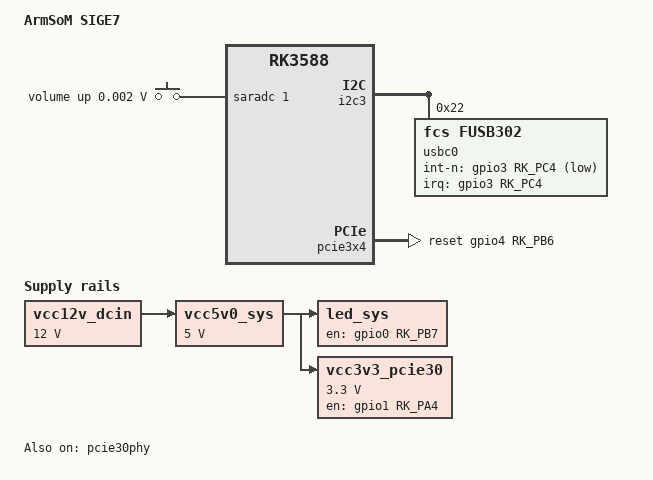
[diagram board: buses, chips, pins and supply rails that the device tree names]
// SPDX-License-Identifier: (GPL-2.0+ OR MIT)
/*
 * Copyright (c) 2021 Rockchip Electronics Co., Ltd
 *
 */

/dts-v1/;
#include "rk3588.dtsi"
#include "rk3588-u-boot.dtsi"
#include <dt-bindings/input/input.h>
#include <dt-bindings/usb/pd.h>

/ {
	model = "ArmSoM SIGE7";
	compatible = "armsom,armsom-sige7", "rockchip,rk3588";

	vcc12v_dcin: vcc12v-dcin {
		u-boot,dm-pre-reloc;
		compatible = "regulator-fixed";
		regulator-name = "vcc12v_dcin";
		regulator-always-on;
		regulator-boot-on;
		regulator-min-microvolt = <12000000>;
		regulator-max-microvolt = <12000000>;
	};

	vcc5v0_sys: vcc5v0-sys {
		u-boot,dm-pre-reloc;
		compatible = "regulator-fixed";
		regulator-name = "vcc5v0_sys";
		regulator-always-on;
		regulator-boot-on;
		regulator-min-microvolt = <5000000>;
		regulator-max-microvolt = <5000000>;
		vin-supply = <&vcc12v_dcin>;
	};

	led_sys: led-sys {
		u-boot,dm-pre-reloc;
		compatible = "regulator-fixed";
		regulator-name = "led_sys";
		enable-active-high;
		gpio = <&gpio0 RK_PB7 GPIO_ACTIVE_HIGH>; // Turn on user led
		regulator-boot-on;
		regulator-always-on;
		vin-supply = <&vcc5v0_sys>;
	};

	adc-keys {
		compatible = "adc-keys";
		io-channels = <&saradc 1>;
		io-channel-names = "buttons";
		keyup-threshold-microvolt = <1800000>;
		u-boot,dm-pre-reloc;
		status = "okay";

		volumeup-key {
			u-boot,dm-pre-reloc;
			linux,code = <KEY_VOLUMEUP>;
			label = "volume up";
			press-threshold-microvolt = <1750>;
		};
	};

	vcc3v3_pcie30: vcc3v3-pcie30 {
		u-boot,dm-pre-reloc;
		compatible = "regulator-fixed";
		regulator-name = "vcc3v3_pcie30";
		regulator-min-microvolt = <3300000>;
		regulator-max-microvolt = <3300000>;
		enable-active-high;
		gpio = <&gpio1 RK_PA4 GPIO_ACTIVE_HIGH>;
		regulator-boot-on;
		regulator-always-on;
		vin-supply = <&vcc5v0_sys>;
	};
};

&i2c3 {
	u-boot,dm-pre-reloc;
	pinctrl-names = "default";
	pinctrl-0 = <&i2c3m0_xfer>;

	status = "okay";

	usbc0: fusb302@22 {
		compatible = "fcs,fusb302";
		u-boot,dm-pre-reloc;
		reg = <0x22>;
		interrupt-parent = <&gpio3>;
		interrupts = <RK_PC4 IRQ_TYPE_LEVEL_LOW>;
		int-n-gpios = <&gpio3 RK_PC4 GPIO_ACTIVE_LOW>;
		pinctrl-names = "default";
		pinctrl-0 = <&usbc0_int>;
		// vbus-supply = <&vcc12v_dcin>;
		status = "okay";

		usb_con: connector {
			u-boot,dm-pre-reloc;
			compatible = "usb-c-connector";
			label = "USB-C";
			data-role = "dual";
			power-role = "sink";
			try-power-role = "sink";
			op-sink-microwatt = <1000000>;
			sink-pdos =
				<PDO_FIXED(5000, 3000, PDO_FIXED_USB_COMM)
				 PDO_VAR(5000, 12000, 5000)>;
		};
	};
};

&pinctrl {
	u-boot,dm-pre-reloc;
	status = "okay";

	usbc {
		u-boot,dm-pre-reloc;
		usbc0_int: usbc0-int {
			u-boot,dm-pre-reloc;
			rockchip,pins = <3 RK_PC4 RK_FUNC_GPIO &pcfg_pull_up>;
		};
	};
};

&i2c3m0_xfer {
	u-boot,dm-pre-reloc;
};

&php_grf {
	u-boot,dm-pre-reloc;
};

&ioc {
	u-boot,dm-pre-reloc;
};

&cru {
	u-boot,dm-pre-reloc;
};

&pcfg_pull_none_smt {
	u-boot,dm-pre-reloc;
};

&gpio3 {
	u-boot,dm-pre-reloc;
	status = "okay";
};

&pcie3x4 {
	u-boot,dm-pre-reloc;
	reset-gpios = <&gpio4 RK_PB6 GPIO_ACTIVE_HIGH>;
	status = "okay";

};

&pcie30phy {
	u-boot,dm-pre-reloc;
	status = "okay";
};
